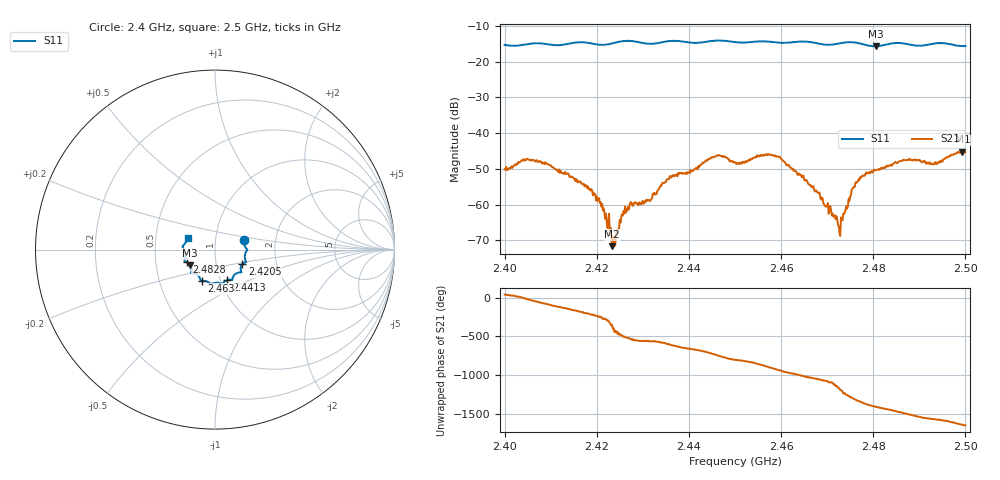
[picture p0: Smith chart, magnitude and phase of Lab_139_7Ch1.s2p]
# Hz S RI R
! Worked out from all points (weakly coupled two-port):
!   601 points, 2.4 GHz to 2.5 GHz, reference 50 ohm
!   highest |S21| = -45.22 dB at 2.4993 GHz (marker M1); lowest = -71.6 dB at 2.4233 GHz (marker M2)
!   lowest |S11| = -15.7 dB at 2.4805 GHz (marker M3), VSWR 1.39, Z = 37.3 - j6.69 ohm
!   |S11| at or under -10 dB: start of sweep to end of sweep
!   S12 and S22 are empty: the file has one direction only
!   S11 on the Smith chart (normalised r, x): 2.4 GHz: 1.38, +0.15; 2.4205 GHz: 1.34, -0.22; 2.4413 GHz: 1.08, -0.38; 2.463 GHz: 0.82, -0.29; 2.4828 GHz: 0.72, -0.10; 2.5 GHz: 0.73, +0.10
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2.4e9  0.1628 0.0524  0.00241 0.00194  0 0  0 0
2.4065e9  0.1803 0.00016  0.00289 -0.00297  0 0  0 0
2.416667e9  0.1734 -0.0697  -0.00195 0.000177  0 0  0 0
2.4205e9  0.1521 -0.0809  -0.000453 0.00114  0 0  0 0
2.423333e9  0.1431 -0.1083  0.000259 4.07e-05  0 0  0 0
2.427e9  0.148 -0.127  -0.000824 -0.000236  0 0  0 0
2.433333e9  0.1004 -0.1514  -0.00141 0.000772  0 0  0 0
2.436167e9  0.0976 -0.1683  -0.000762 0.00226  0 0  0 0
2.441333e9  0.0675 -0.1697  0.002 0.00245  0 0  0 0
2.446333e9  0.0413 -0.1931  0.00428 -0.00224  0 0  0 0
2.45e9  0.0247 -0.1856  0.000615 -0.00384  0 0  0 0
2.457667e9  -0.0287 -0.187  -0.00492 0.000193  0 0  0 0
2.463e9  -0.0721 -0.1735  -0.000267 0.00297  0 0  0 0
2.466667e9  -0.0816 -0.1673  0.00123 0.00125  0 0  0 0
2.472833e9  -0.1251 -0.1301  -0.000109 -0.000347  0 0  0 0
2.475833e9  -0.1334 -0.129  -0.00133 0.0012  0 0  0 0
2.4805e9  -0.1383 -0.0872  0.00255 0.00162  0 0  0 0
2.482833e9  -0.1586 -0.0703  0.00343 0.000239  0 0  0 0
2.483333e9  -0.1624 -0.0683  0.00347 3.3e-05  0 0  0 0
2.493333e9  -0.179 0.0113  -0.0022 -0.00301  0 0  0 0
2.499333e9  -0.155 0.0543  -0.00522 0.00168  0 0  0 0
2.5e9  -0.1523 0.064  -0.00487 0.00239  0 0  0 0
